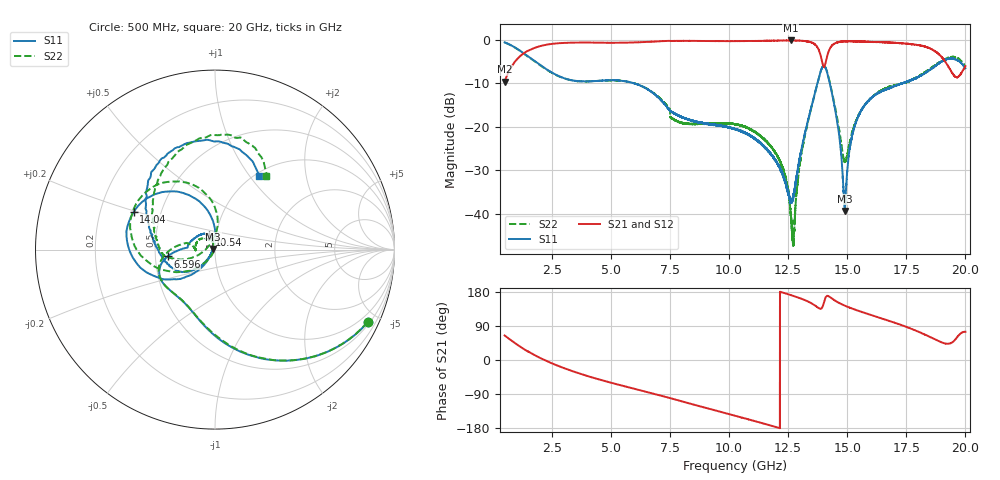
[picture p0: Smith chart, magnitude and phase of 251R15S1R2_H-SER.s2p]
!{251R15S1R2}
!Johanson Technology Inc.
!www.johansontechnology.com
!Test Board Conditions:
!Substrate Type  RO4350B
!Substrate Thickness  20 mil
!Substrate Dk  3.66
!TL Type: GCPW
!TL Trace Width  34 mil
!TL Gap  10 mil
!Electrode orientation  Horizontal
!DUT TOPOLOGY	SERIES
!Mounting Pad LxW  26x52 mil
! Created Thu Mar 12 16:34:35 2020
# mhz S ma R 50
! 2 Port Network Data from SP1.SP block
! freq  magS11  angS11  magS21  angS21  magS12  angS12  magS22  angS22
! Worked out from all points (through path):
!   19501 points, 500 MHz to 20 GHz, reference 50 ohm
!   highest |S21| = -0.07 dB at 12.61 GHz (marker M1); lowest = -9.6 dB at 500 MHz (marker M2)
!   lowest |S11| = -39.4 dB at 14.89 GHz (marker M3), VSWR 1.02, Z = 49 + j0.412 ohm
!   |S11| at or under -10 dB: 6.003 GHz to 13.73 GHz (7.731 GHz wide, 78.3 % of centre); 14.26 GHz to 17.31 GHz (3.045 GHz wide, 19.3 % of centre); 17.30812 GHz to 17.31468 GHz (6.562 MHz wide, 0.0379 % of centre) (the widest 3 of 8)
!   |S22| runs from -47.5 to -0.5 dB; largest |S21 - S12| = 0.016
!   S11 on the Smith chart (normalised r, x): 500 MHz: 0.61, -4.39; 6.596 GHz: 0.58, -0.05; 10.54 GHz: 0.92, +0.15; 14.04 GHz: 0.35, +0.20; 20 GHz: 1.05, +1.10
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500  0.9428 -25.2  0.3311 64.9  0.332 64.9  0.9412 -25.3
2004  0.5168 -85.0  0.8531 5.4  0.8547 5.4  0.5128 -84.8
3750  0.3351 -126.4  0.9381 -37.3  0.9389 -37.2  0.3338 -126.9
6596  0.2664 -171.7  0.9561 -85.4  0.958 -85.4  0.2681 -176.3
7000  0.2187 -177.2  0.9683 -92.2  0.9697 -92.1  0.223 176.1
7920  0.1326 152.9  0.9802 -107.7  0.9817 -107.7  0.1126 176.8
10250  0.0938 116.1  0.9744 -147.1  0.9758 -147.1  0.1068 151.6
10545  0.08773 112.6  0.9761 -152.0  0.9749 -152.1  0.1029 145.8
12075  0.03648 102.5  0.989 -178.6  0.988 -178.6  0.0439 109.5
12614  0.01354 154.6  0.9921 171.3  0.9903 171.3  0.009626 104.1
12736  0.01665 -161.9  0.99 168.8  0.9905 168.8  0.005337 -154.9
13021  0.04876 -127.4  0.9851 162.5  0.9864 162.6  0.04178 -120.5
13500  0.1771 -131.7  0.9367 149.0  0.9392 149.1  0.1744 -139.5
13807  0.3749 -157.4  0.7581 136.2  0.7629 135.9  0.3741 -168.5
14036  0.4995 155.0  0.4983 157.0  0.4979 156.4  0.5036 142.8
14555  0.1234 91.2  0.9376 154.1  0.935 154.1  0.1348 84.0
14892  0.01068 156.8  0.9683 143.6  0.9682 143.8  0.0399 136.2
15447  0.1285 -132.1  0.9686 130.6  0.9697 130.4  0.1315 -160.6
16750  0.28 -164.4  0.9434 103.8  0.9351 103.4  0.2883 -174.0
18765  0.5124 137.3  0.7292 53.0  0.7258 53.4  0.5242 124.2
19428  0.6119 98.0  0.4234 45.9  0.4287 46.9  0.6409 87.0
20000  0.4748 59.1  0.5003 74.5  0.5024 74.7  0.498 55.1
